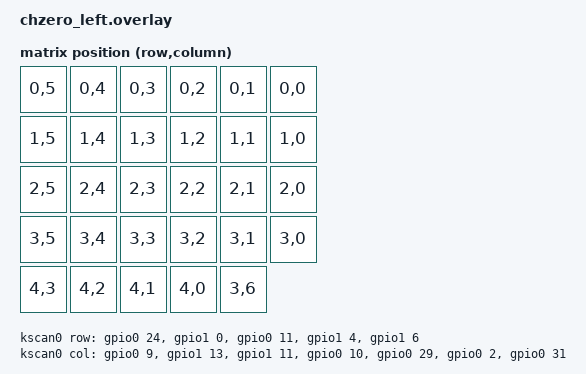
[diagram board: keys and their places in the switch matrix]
#include <dt-bindings/zmk/matrix_transform.h>
#include <dt-bindings/gpio/gpio.h>

/ {
    chosen {
        zmk,kscan = &kscan0;
        zmk,matrix-transform = &default_transform;
    };
    default_transform: keymap_transform_0 {
        compatible = "zmk,matrix-transform";
        rows = <5>;
        columns = <7>;
        // Front view; wiring drawing is assumed to be the rear view.
        map = <
            RC(0,5) RC(0,4) RC(0,3) RC(0,2) RC(0,1) RC(0,0)
            RC(1,5) RC(1,4) RC(1,3) RC(1,2) RC(1,1) RC(1,0)
            RC(2,5) RC(2,4) RC(2,3) RC(2,2) RC(2,1) RC(2,0)
            RC(3,5) RC(3,4) RC(3,3) RC(3,2) RC(3,1) RC(3,0)
            RC(4,3) RC(4,2) RC(4,1) RC(4,0) RC(3,6)
        >;
    };
    kscan0: kscan {
        compatible = "zmk,kscan-gpio-matrix";
        wakeup-source;
        diode-direction = "col2row";
        row-gpios = <&gpio0 24 (GPIO_ACTIVE_HIGH | GPIO_PULL_DOWN)>,
            <&gpio1 0 (GPIO_ACTIVE_HIGH | GPIO_PULL_DOWN)>,
            <&gpio0 11 (GPIO_ACTIVE_HIGH | GPIO_PULL_DOWN)>,
            <&gpio1 4 (GPIO_ACTIVE_HIGH | GPIO_PULL_DOWN)>,
            <&gpio1 6 (GPIO_ACTIVE_HIGH | GPIO_PULL_DOWN)>;
        col-gpios = <&gpio0 9 GPIO_ACTIVE_HIGH>,
            <&gpio1 13 GPIO_ACTIVE_HIGH>,
            <&gpio1 11 GPIO_ACTIVE_HIGH>,
            <&gpio0 10 GPIO_ACTIVE_HIGH>,
            <&gpio0 29 GPIO_ACTIVE_HIGH>,
            <&gpio0 2 GPIO_ACTIVE_HIGH>,
            <&gpio0 31 GPIO_ACTIVE_HIGH>;
    };
};
